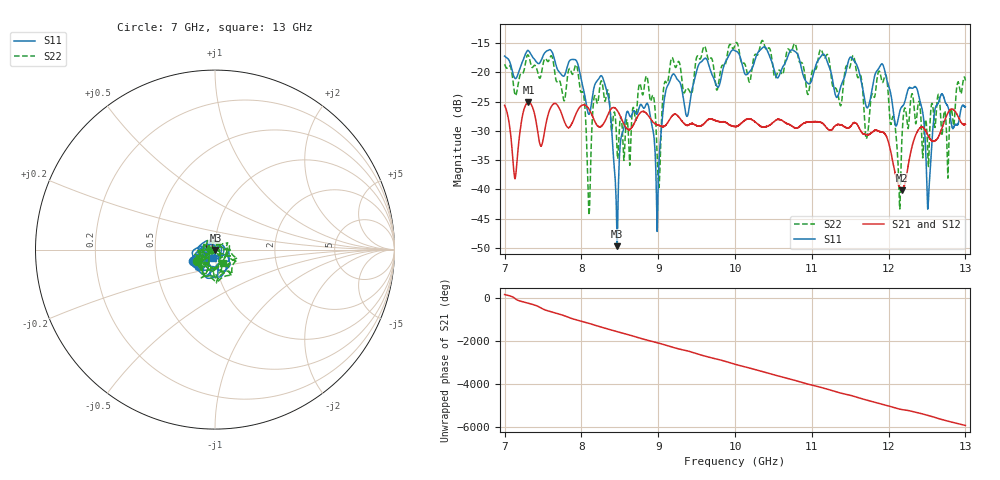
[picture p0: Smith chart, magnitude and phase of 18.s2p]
[Version] 2.0
! Rohde & Schwarz Vector Network Analyzer
! Rohde-Schwarz,ZNL20-2Port,1323001220200009,1.71.1.10-23.02.1.238
! Port Assignments:
! Nominal Port -> Actual Test Port
!  1 -> 1
!  2 -> 2
! Created: GMT+3 2024-09-24 15:15:23
# Hz S DB R 50
[Number of Ports] 2
[Two-Port Data Order] 21_12
! freq[Hz]  S11[mag dB]  S11[ang]  S21[mag dB]  S21[ang]  S12[mag dB]  S12[ang]  S22[mag dB]  S22[ang]
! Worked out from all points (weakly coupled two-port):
!   6001 points, 7 GHz to 13 GHz, reference 50 ohm
!   highest |S21| = -25.09 dB at 7.31 GHz (marker M1); lowest = -40.1 dB at 12.17 GHz (marker M2)
!   lowest |S11| = -49.7 dB at 8.467 GHz (marker M3), VSWR 1.01, Z = 50.3 - j0.214 ohm
!   |S11| at or under -10 dB: start of sweep to end of sweep
!   |S22| runs from -44.3 to -14.6 dB; largest |S21 - S12| = 0.00088
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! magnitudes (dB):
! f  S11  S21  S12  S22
! 7 GHz  -17.3  -25.6  -25.6  -18.6
! 7.136 GHz  -21.1  -38.0  -38.2  -23.9
! 7.31 GHz  -16.3  -25.1  -25.1  -17.1
! 8 GHz  -21.4  -25.7  -25.7  -23.4
! 8.097 GHz  -27.2  -26.3  -26.3  -43.9
! 8.254 GHz  -20.6  -29.3  -29.3  -21.5
! 8.467 GHz  -49.7  -26.5  -26.5  -34.1
! 8.577 GHz  -27.6  -29.4  -29.3  -29.4
! 8.776 GHz  -25.5  -26.8  -26.8  -22.5
! 8.937 GHz  -30.2  -28.5  -28.5  -24.0
! 9 GHz  -39.3  -29.0  -29.1  -38.4
! 9.176 GHz  -20.7  -27.5  -27.6  -17.5
! 9.376 GHz  -27.5  -29.1  -29.0  -22.7
! 10 GHz  -16.3  -29.2  -29.3  -15.4
! 11 GHz  -21.4  -28.5  -28.5  -20.1
! 12 GHz  -22.3  -32.0  -32.0  -24.6
! 12.17 GHz  -25.9  -40.1  -40.0  -32.0
! 12.38 GHz  -23.2  -30.1  -30.0  -26.2
! 12.52 GHz  -41.9  -31.0  -30.9  -36.1
! 12.67 GHz  -24.4  -30.5  -30.4  -25.4
! 12.78 GHz  -26.0  -26.9  -26.9  -37.1
! 13 GHz  -25.9  -28.9  -28.9  -21.4
